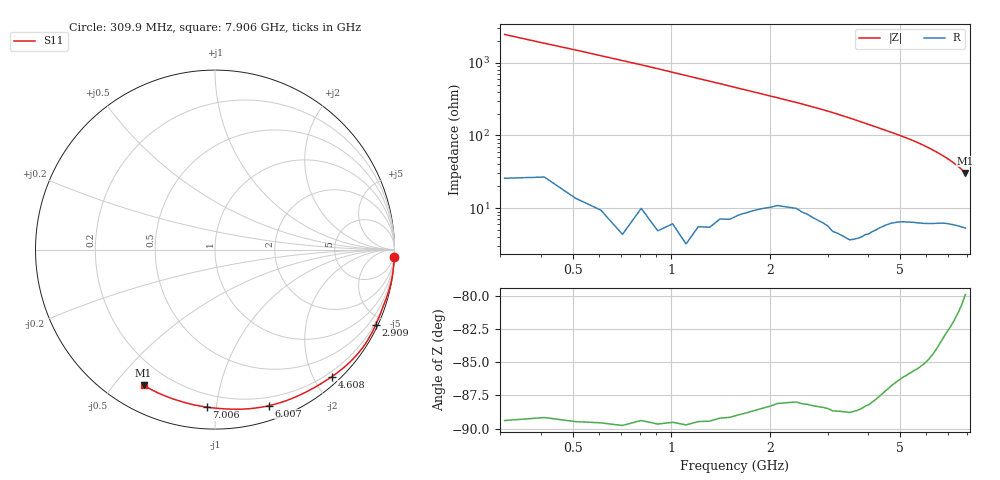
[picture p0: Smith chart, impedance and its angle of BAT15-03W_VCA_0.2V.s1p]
! Infineon Technologies  Discrete & RF Semiconductors
! BAT15-03W-E6327
! VCA = 0.2 V
! One-Port S-Parameters
# Hz  S  MA  R  50
!f  S11
!Hz  Mag  Ang
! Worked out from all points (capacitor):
!   77 points, 309.9 MHz to 7.906 GHz, reference 50 ohm
!   read as one part to ground: C = 210 fF near 309.9 MHz
!   lowest |Z| = 30.4 ohm at 7.906 GHz (marker M1)
!   S11 on the Smith chart (normalised r, x): 309.9 MHz: 1, -49; 2.909 GHz: 0.13, -4.51; 4.608 GHz: 0.12, -2.27; 6.007 GHz: 0.12, -1.40; 7.006 GHz: 0.12, -0.94; 7.906 GHz: 0.11, -0.60
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3.0985e8  0.9996 -2.3
9.0955e8  0.9993 -6.9
1.30935e9  0.9983 -10.2
1.70915e9  0.995 -13.7
2.2089e9  0.9896 -18.1
2.50875e9  0.9884 -20.9
2.90855e9  0.9883 -25.0
3.2084e9  0.9891 -28.4
3.50825e9  0.9888 -32.2
3.70815e9  0.9863 -34.8
4.10795e9  0.9777 -40.3
4.30785e9  0.9717 -43.1
4.6077e9  0.9617 -47.4
4.90755e9  0.9519 -51.8
5.10745e9  0.946 -54.9
5.4073e9  0.9381 -59.8
5.6072e9  0.9327 -63.3
5.8071e9  0.9268 -66.9
6.007e9  0.92 -70.9
6.30685e9  0.9083 -77.1
6.50675e9  0.8993 -81.5
6.70665e9  0.8902 -86.0
7.0065e9  0.8785 -93.1
7.10645e9  0.8754 -95.6
7.30635e9  0.8693 -100.8
7.50625e9  0.8639 -106.2
7.70615e9  0.8592 -111.8
7.90605e9  0.8548 -117.8
